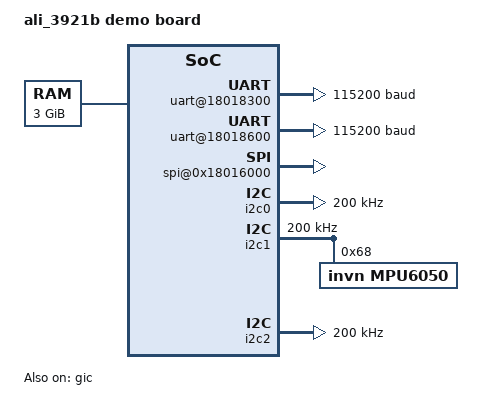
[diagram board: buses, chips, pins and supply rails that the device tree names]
/*
 * Copyright (C) 2013 Broadcom Corporation
 *
 * This program is free software; you can redistribute it and/or
 * modify it under the terms of the GNU General Public License as
 * published by the Free Software Foundation version 2.
 *
 * This program is distributed "as is" WITHOUT ANY WARRANTY of any
 * kind, whether express or implied; without even the implied warranty
 * of MERCHANTABILITY or FITNESS FOR A PARTICULAR PURPOSE.  See the
 * GNU General Public License for more details.
 */

/*comment, 
About irq
#define GIC_SPI 0
#define GIC_SPI 0
#define GIC_PPI 1
#define IRQ_TYPE_NONE		0
#define IRQ_TYPE_EDGE_RISING	1
#define IRQ_TYPE_EDGE_FALLING	2
#define IRQ_TYPE_EDGE_BOTH	(IRQ_TYPE_EDGE_FALLING | IRQ_TYPE_EDGE_RISING)
#define IRQ_TYPE_LEVEL_HIGH	4
#define IRQ_TYPE_LEVEL_LOW	8

for example
interrupts = <GIC_SPI 92 IRQ_TYPE_LEVEL_HIGH>;
comment*/

/dts-v1/;

/ {
	model = "ali_3921b demo board";
	compatible = "ali,3921b", "ali,3921a";
	#address-cells = <1>;
	#size-cells = <1>;
  	interrupt-parent=<&gic>;
  
  	chosen {
   		name = "chosen";
    		bootargs = "null"; 
    		linux,stdout-path = "null"; 
  	};
  
  	memory {
    		device_type = "memory"; 
   		reg = <0x80000000 0xC0000000>;
  	}; 
  
  	gic:interrupt-controller@0x1BF01000{
		compatible="arm,cortex-a9-gic";
		reg=<0x1BF01000 0x1000 0x1BF00100 0x100>;
		interrupt-controller;
		#interrupt-cells=<3>;
		status = "okay";
	};


	uart@18018300 {
			compatible = "ns16550a";
			reg = <0x18018300 0x0C>;
			interrupts = <0 16 4>;
			clock-frequency	= <1843200>;
		  	current-speed = <115200>;
		  	reg-offset = <0>;
		 	reg-shift = <0>;
		 	fifo-size = <16>;
		 	reg-io-width = <1>;
	};

	uart@18018600 {
			compatible = "ns16550a";
			reg = <0x18018600 0x0C>;
			interrupts = <0 17 4>;
			clock-frequency	= <1843200>;
			current-speed = <115200>;
			reg-offset = <0>;
			reg-shift = <0>;
			fifo-size = <16>;
			reg-io-width = <1>;
	};
	
	spi@0x18016000{  
     		compatible = "alitech,spictrl"; 
     		reg = <0x18016000 0x1000>;
     		#address-cells = <1>;
     		#size-cells = <1>;
     		interrupts = <0 10 4>;
     		status = "okay"; 

     };
	i2c0: i2c@18018200 {
		#address-cells = <1>;
		#size-cells = <1>;
		compatible = "alitech,i2c";
		reg = <0x18018200 0x20>;
		interrupts = <0 18 4>;
		clock-frequency = <200000>;
		
	};
	
	
	i2c1: i2c@18018700 {
		#address-cells = <1>;
		#size-cells = <1>;
		compatible = "alitech,i2c";
		reg = <0x18018700 0x20>;
		interrupts = <0 25 4>;
		clock-frequency = <200000>;

		mpu6050@68{
			#address-cells = <1>;
			#size-cells = <0>;
			#gpio-cells =<0>;
			compatible = "invn,mpu6050";
			reg=<0x68 8>;
			invn,place="Portrait Down Back Side";
			invn,gpio-en=<0>;
			status = "okay";
		};
	};
	i2c2: i2c@18018b00 {
		#address-cells = <1>;
		#size-cells = <1>;
		compatible = "alitech,i2c";
		reg = <0x18018b00 0x20>;
		interrupts = <0 26 4>;
		clock-frequency = <200000>;

		
	};
	
	
};
